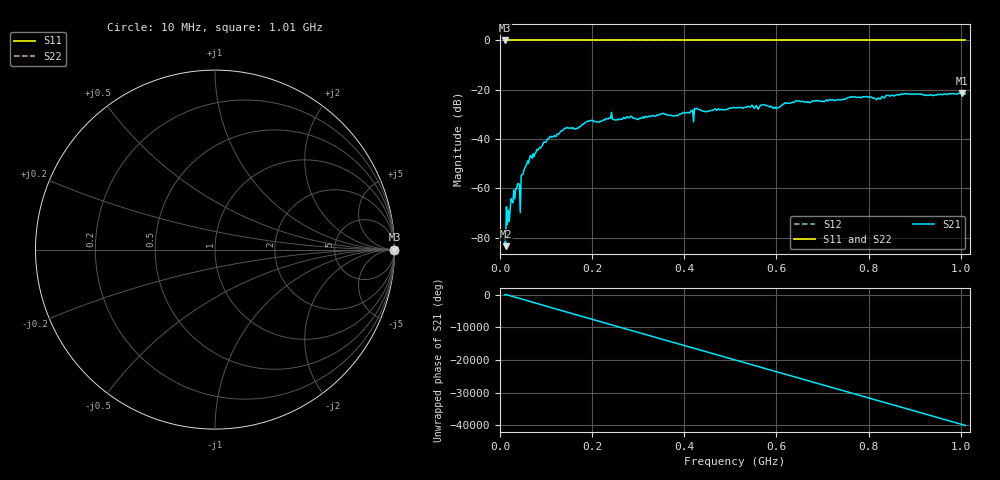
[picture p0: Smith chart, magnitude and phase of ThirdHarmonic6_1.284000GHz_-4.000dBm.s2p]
! 8/16/2025 1:59:25 PM
! C:\ANRITSUVNA\TEMP\TEMP.S2P
! CHANNEL.1
! TR.MEASUREMENT
! RAW.DATA
! RF.CORRECTION.OFF
! AVERAGING.OFF
! IF.BANDWIDTH: 5KHZ
! SWEEPTYPE:  FREQ.SWEEP(Linear)
! Reference Plane Port Info
! PORT:  PORT1  PORT2
! DISTANCE:  0  m  0  m
! TIME:  0  s  0  s
! PHASE.OFFSET:  0  deg.  0  deg.
! LOSS:  0  dB  0  dB
! REF.LOSS:  0  dB  0  dB
! REF.FREQ:  0  Hz  0  Hz
! Power Info
! POWER:  -20  dBm  -20  dBm
! EFF.POWER:  -20  dBm  -20  dBm
! SOURCE.ATTEN:  0  dB  0  dB
! TEST.ATTEN:  0  dB  0  dB
# GHZ S RI R 50.0
! FREQ.GHZ  S11RE  S11IM  S21RE  S21IM  S12RE  S12IM  S22RE  S22IM
!; PortSelection: Port_12
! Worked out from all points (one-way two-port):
!   501 points, 10 MHz to 1.01 GHz, reference 50 ohm
!   highest |S21| = -21.24 dB at 1.002 GHz (marker M1); lowest = -83.4 dB at 12 MHz (marker M2)
!   lowest |S11| = 0.0 dB at 10 MHz (marker M3)
!   |S11| at or under -10 dB: nowhere
!   |S22| runs from 0.0 to 0.0 dB; largest |S21 - S12| = 1.1
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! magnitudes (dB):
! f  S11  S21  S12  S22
! 10 MHz  0.0  -79.9  0.0  0.0
! 12 MHz  0.0  -83.4  0.0  0.0
! 26 MHz  0.0  -65.1  0.0  0.0
! 38 MHz  0.0  -58.2  0.0  0.0
! 40 MHz  0.0  -58.0  0.0  0.0
! 46 MHz  0.0  -54.7  0.0  0.0
! 48 MHz  0.0  -54.5  0.0  0.0
! 50 MHz  0.0  -54.2  0.0  0.0
! 64 MHz  0.0  -48.0  0.0  0.0
! 106 MHz  0.0  -39.6  0.0  0.0
! 142 MHz  0.0  -35.7  0.0  0.0
! 178 MHz  0.0  -34.2  0.0  0.0
! 238 MHz  0.0  -31.4  0.0  0.0
! 298 MHz  0.0  -32.0  0.0  0.0
! 344 MHz  0.0  -30.3  0.0  0.0
! 510 MHz  0.0  -27.3  0.0  0.0
! 602 MHz  0.0  -27.3  0.0  0.0
! 644 MHz  0.0  -24.5  0.0  0.0
! 678 MHz  0.0  -24.5  0.0  0.0
! 844 MHz  0.0  -22.4  0.0  0.0
! 1.002 GHz  0.0  -21.2  0.0  0.0
! 1.01 GHz  0.0  -21.7  0.0  0.0
